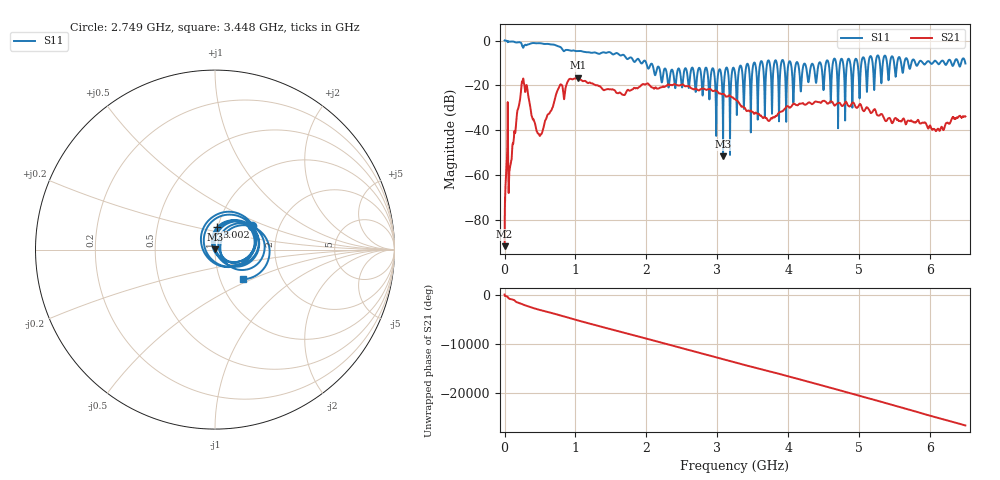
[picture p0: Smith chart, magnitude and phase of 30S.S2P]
!Keysight Technologies,E5063A,MY54503115,A.05.08
!Date: Tue Mar 05 14:50:40 2024
!Data & Calibration Information:
!Freq	S11:NONE(--)	S21:NONE(--)	S12:NONE(--)	S22:NONE(--)
# Hz S dB R 50
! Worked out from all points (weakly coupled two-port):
!   10001 points, 100 kHz to 6.5 GHz, reference 50 ohm
!   highest |S21| = -16.59 dB at 1.034 GHz (marker M1); lowest = -91.7 dB at 100 kHz (marker M2)
!   lowest |S11| = -51.7 dB at 3.082 GHz (marker M3), VSWR 1.01, Z = 50 + j0.26 ohm
!   |S11| at or under -10 dB: 1.998 GHz to 3.516 GHz (1.518 GHz wide, 55.1 % of centre); 4.036 GHz to 4.114 GHz (77.49 MHz wide, 1.9 % of centre); 4.136 GHz to 4.436 GHz (300.7 MHz wide, 7.02 % of centre) (the widest 3 of 30)
!   S12 and S22 are empty: the file has one direction only
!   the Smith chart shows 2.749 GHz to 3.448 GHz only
!   S11 on the Smith chart (normalised r, x): 2.749 GHz: 1.46, +0.41; 3.002 GHz: 0.99, +0.25; 3.448 GHz: 1.28, -0.45
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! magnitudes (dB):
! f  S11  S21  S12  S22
! 100 kHz  0.0  -91.7  -  -
! 38.45 MHz  -0.2  -46.1  -  -
! 84.6 MHz  -0.5  -55.3  -  -
! 253.6 MHz  -2.6  -18.4  -  -
! 497.3 MHz  -1.2  -42.5  -  -
! 771.6 MHz  -2.7  -20.4  -  -
! 1.034 GHz  -4.7  -16.6  -  -
! 1.084 GHz  -4.7  -17.7  -  -
! 2.167 GHz  -11.6  -21.4  -  -
! 2.749 GHz  -12.2  -22.1  -  -
! 3.002 GHz  -18.1  -22.7  -  -
! 3.034 GHz  -12.8  -23.6  -  -
! 3.082 GHz  -51.7  -23.8  -  -
! 3.129 GHz  -12.0  -25.0  -  -
! 3.173 GHz  -26.0  -24.5  -  -
! 3.25 GHz  -14.4  -26.1  -  -
! 3.448 GHz  -12.8  -31.3  -  -
! 3.732 GHz  -9.2  -35.9  -  -
! 4.334 GHz  -10.4  -28.4  -  -
! 5.417 GHz  -17.6  -34.6  -  -
! 6.109 GHz  -10.2  -39.3  -  -
! 6.5 GHz  -10.2  -33.9  -  -
